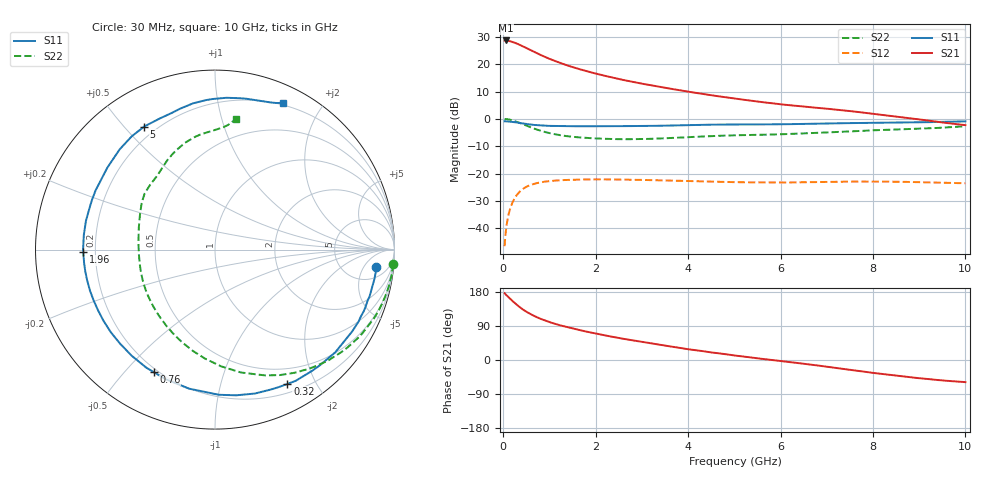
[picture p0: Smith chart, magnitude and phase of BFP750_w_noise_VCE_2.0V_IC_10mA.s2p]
! Infineon Technologies  Discrete & RF Semiconductors
! BFP750
! VCE =  2.0 V,  IC =  10 mA
! Common Emitter S-Parameters:  Jan 2016
# GHz  S  MA  R  50
!  f  S11  S21  S12  S22
! GHz  MAG  ANG  MAG  ANG  MAG  ANG  MAG  ANG
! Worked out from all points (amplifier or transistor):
!   229 points, 30 MHz to 10 GHz, reference 50 ohm
!   highest |S21| = 28.7 dB at 50 MHz (marker M1)
!   |S21| within 3 dB of that: start of sweep to 527.1 MHz
!   unconditionally stable (mu >= 1): 5.209 GHz to end of sweep
!   at 280 MHz: K = 0.07, MSG = 27.9 dB, |S12| = -28.2 dB
!   at 1.78 GHz: K = 0.36, MSG = 19.9 dB, |S12| = -22.2 dB
!   at 10 GHz: K = 1.16, MAG = 8.2 dB, |S12| = -23.6 dB
!   lowest NFmin = 0.64 dB at 450 MHz
!   S11 on the Smith chart (normalised r, x): 30 MHz: 9, -10; 320 MHz: 0.30, -1.63; 760 MHz: 0.18, -0.60; 1.96 GHz: 0.15, -0.01; 5 GHz: 0.15, +0.57; 10 GHz: 0.18, +1.56
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0.03  0.9036 -6.3  27 176.2  0.0047 87.3  0.9957 -4.7
0.05  0.9032 -10.4  27.17 173.2  0.0079 84.8  0.9947 -7.8
0.1  0.8974 -20.8  26.82 167.5  0.0154 78.6  0.983 -15.7
0.2  0.8812 -40.5  25.54 155.6  0.0296 68.1  0.9416 -30.7
0.32  0.85 -61.7  23.34 143.0  0.0431 56.6  0.8685 -47.0
0.4  0.8322 -74.5  21.75 135.5  0.0503 50.2  0.8178 -57.0
0.5  0.8091 -88.5  19.76 127.4  0.0573 43.2  0.7557 -68.1
0.6  0.7881 -100.6  17.91 120.3  0.0624 37.2  0.6997 -78.1
0.76  0.7632 -116.5  15.42 111.2  0.0678 29.6  0.6253 -91.7
0.9  0.7518 -128.1  13.62 104.3  0.0712 24.4  0.5773 -102.4
1.16  0.7377 -145.0  11.11 94.0  0.0748 16.9  0.5153 -118.7
1.4  0.733 -157.4  9.41 86.1  0.0766 11.7  0.4807 -131.3
1.7  0.733 -169.8  7.891 77.5  0.0778 6.5  0.4549 -144.3
1.96  0.7341 -178.9  6.876 70.8  0.0782 2.6  0.4412 -154.1
2.6  0.7361 162.9  5.139 55.9  0.0775 -4.9  0.4251 -174.7
3.4  0.7494 144.8  3.831 40.0  0.0753 -11.8  0.4381 165.9
4  0.7707 133.6  3.144 28.4  0.073 -15.8  0.4632 154.3
5  0.7911 119.9  2.36 12.0  0.0697 -19.5  0.5017 141.3
5.1  0.7906 118.7  2.3 10.6  0.0695 -19.8  0.503 140.0
6.8  0.8171 100.6  1.59 -14.4  0.0701 -24.3  0.5557 119.8
8.4  0.855 80.6  1.132 -39.8  0.071 -32.9  0.6378 100.1
10  0.9012 65.0  0.768 -58.4  0.0664 -39.7  0.7352 80.9
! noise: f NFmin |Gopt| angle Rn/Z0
0.45  0.64  0.24  2  0.09
0.9  0.66  0.21  16  0.02
1.5  0.68  0.13  78  0.06
1.9  0.71  0.12  115  0.08
2.4  0.78  0.17  153  0.08
3.5  1.07  0.24  -166  0.05
